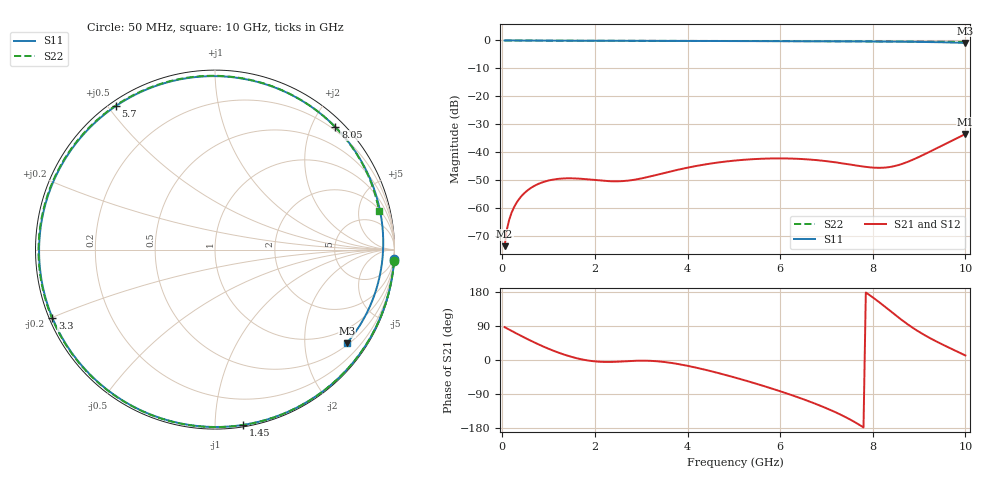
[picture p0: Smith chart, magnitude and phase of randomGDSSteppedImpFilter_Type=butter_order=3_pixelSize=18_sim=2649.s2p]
! freq	dB(S11)	phase(S11)	dB(S12)	phase(S12)
!  dB(S21)	phase(S21)	dB(S22)	phase(S22)
!S-par simulation data
#  GHz  S  DB  R 50
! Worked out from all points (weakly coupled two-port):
!   200 points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, 50 MHz to 10 GHz, reference 50 ohm
!   highest |S21| = -33.43 dB at 10 GHz (marker M1); lowest = -73.5 dB at 50 MHz (marker M2)
!   lowest |S11| = -0.9 dB at 10 GHz (marker M3), VSWR 19.18, Z = 27.6 - j152 ohm
!   |S11| at or under -10 dB: nowhere
!   |S22| runs from -0.5 to 0.0 dB; largest |S21 - S12| = 0
!   S11 on the Smith chart (normalised r, x): 50 MHz: 0, -38; 1.45 GHz: 0.01, -1.17; 3.3 GHz: 0.01, -0.20; 5.7 GHz: 0.02, +0.52; 8.05 GHz: 0.15, +2.38; 10 GHz: 0.55, -3.05
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0.05  -0.00 -3.0  -73.48 86.7  -73.48 86.7  -0.00 -3.6
0.1  -0.01 -6.0  -67.48 83.4  -67.48 83.4  -0.01 -7.3
0.2  -0.02 -12.0  -61.56 76.8  -61.56 76.8  -0.02 -14.4
0.3  -0.03 -17.8  -58.18 70.4  -58.18 70.4  -0.03 -21.5
0.45  -0.04 -26.6  -54.96 60.9  -54.96 60.9  -0.05 -31.9
0.95  -0.07 -54.8  -50.24 32.1  -50.24 32.1  -0.08 -64.5
1.45  -0.09 -80.8  -49.24 9.9  -49.24 9.9  -0.10 -92.6
1.75  -0.11 -95.2  -49.46 0.8  -49.46 0.8  -0.11 -107.3
2.5  -0.13 -127.4  -50.31 -4.4  -50.31 -4.4  -0.12 -138.4
3.3  -0.15 -157.3  -48.15 -2.9  -48.15 -2.9  -0.14 -165.4
3.4  -0.16 -160.8  -47.74 -4.0  -47.74 -4.0  -0.14 -168.5
4.2  -0.18 172.5  -44.80 -20.6  -44.80 -20.6  -0.16 168.5
5.05  -0.22 145.3  -42.86 -47.2  -42.86 -47.2  -0.19 146.0
5.7  -0.25 124.7  -42.20 -70.7  -42.20 -70.7  -0.21 129.2
6.7  -0.29 92.2  -42.61 -112.6  -42.61 -112.6  -0.25 103.3
7.35  -0.33 70.2  -43.91 -146.9  -43.91 -146.9  -0.29 86.2
8.05  -0.38 45.5  -45.46 160.8  -45.46 160.8  -0.32 67.4
8.35  -0.41 34.6  -45.25 132.2  -45.25 132.2  -0.34 59.2
8.8  -0.48 17.5  -43.06 90.2  -43.06 90.2  -0.38 46.8
9.25  -0.57 -0.5  -39.59 56.8  -39.59 56.8  -0.42 34.3
9.65  -0.71 -18.1  -36.29 32.3  -36.29 32.3  -0.48 23.1
10  -0.91 -35.3  -33.43 12.0  -33.43 12.0  -0.55 13.4
